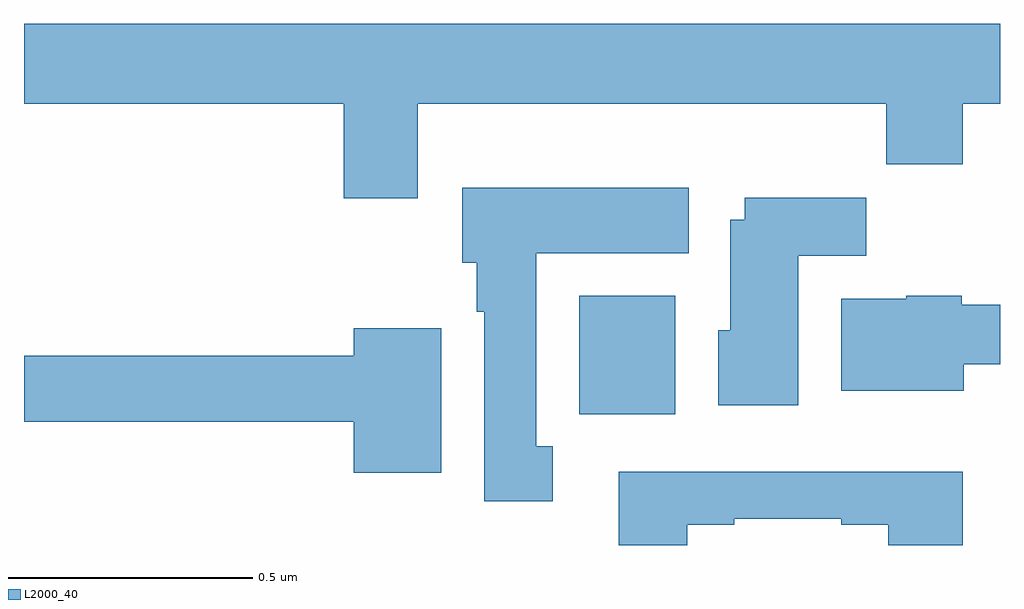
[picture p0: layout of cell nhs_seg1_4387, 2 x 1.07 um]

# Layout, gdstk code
import gdstk
lib = gdstk.Library(unit=1e-6, precision=1e-09)
def R(c, l, rs):  # rectangles x0, y0, x1, y1
    for r in rs: c.add(gdstk.rectangle(r[:2], r[2:], *l))
def P(c, l, *ps):  # polygons
    for p in ps: c.add(gdstk.Polygon(p, *l))
L2000_40 = (2000, 40)

nhs_seg1_4387 = lib.new_cell('nhs_seg1_4387')
R(nhs_seg1_4387, L2000_40, [(167.138,512.468,167.335,512.71)])
P(nhs_seg1_4387, L2000_40, [(166.807,513.104),(167.767,513.104),(167.767,512.98),(167.924,512.98),(167.924,513.104),(168,513.104),(168,513.268),(166,513.268),(166,513.104),(166.655,513.104),(166.655,512.91),(166.807,512.91)],
  [(167.083,512.402),(167.05,512.402),(167.05,512.798),(167.362,512.798),(167.362,512.932),(166.898,512.932),(166.898,512.778),(166.928,512.778),(166.928,512.678),(166.943,512.678),(166.943,512.289),(167.083,512.289)],
  [(167.587,512.792),(167.726,512.792),(167.726,512.911),(167.477,512.911),(167.477,512.866),(167.447,512.866),(167.447,512.64),(167.423,512.64),(167.423,512.486),(167.587,512.486)],
  [(167.926,512.57),(168,512.57),(168,512.692),(167.922,512.692),(167.922,512.71),(167.808,512.71),(167.808,512.704),(167.675,512.704),(167.675,512.516),(167.926,512.516)],
  [(166.855,512.644),(166.676,512.644),(166.676,512.588),(166,512.588),(166,512.452),(166.676,512.452),(166.676,512.348),(166.855,512.348)],
  [(167.359,512.241),(167.455,512.241),(167.455,512.253),(167.675,512.253),(167.675,512.241),(167.771,512.241),(167.771,512.199),(167.924,512.199),(167.924,512.35),(167.219,512.35),(167.219,512.199),(167.359,512.199)])

lib.write_gds('nhs_seg1_4387.gds')
